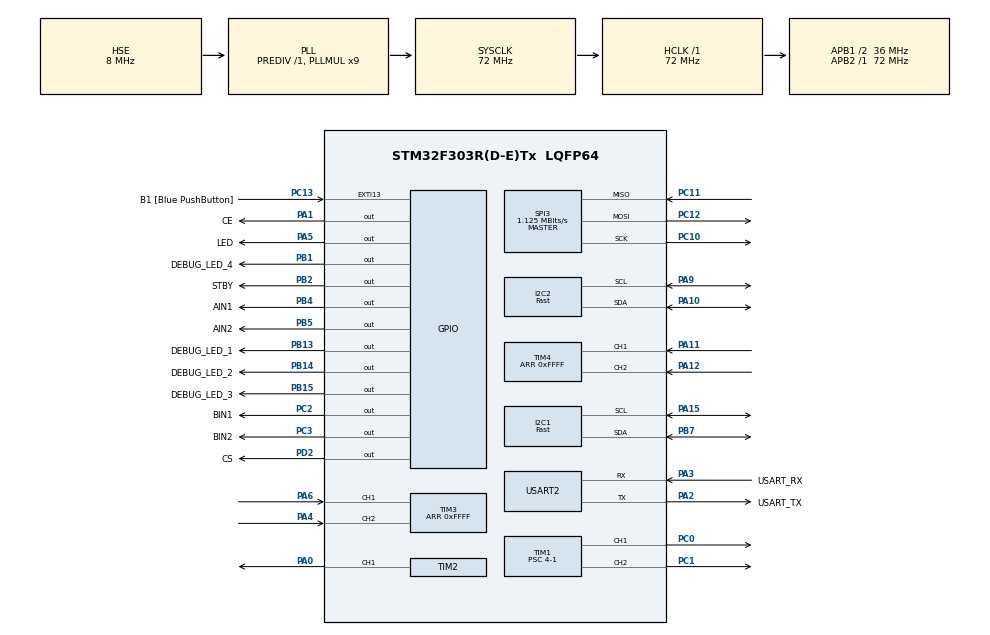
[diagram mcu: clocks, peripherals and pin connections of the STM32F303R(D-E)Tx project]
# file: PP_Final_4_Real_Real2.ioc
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Dma.I2C1_RX.0.Direction=DMA_PERIPH_TO_MEMORY
Dma.I2C1_RX.0.Instance=DMA1_Channel7
Dma.I2C1_RX.0.MemDataAlignment=DMA_MDATAALIGN_BYTE
Dma.I2C1_RX.0.MemInc=DMA_MINC_ENABLE
Dma.I2C1_RX.0.Mode=DMA_NORMAL
Dma.I2C1_RX.0.PeriphDataAlignment=DMA_PDATAALIGN_BYTE
Dma.I2C1_RX.0.PeriphInc=DMA_PINC_DISABLE
Dma.I2C1_RX.0.Priority=DMA_PRIORITY_LOW
Dma.I2C1_TX.1.Direction=DMA_MEMORY_TO_PERIPH
Dma.I2C1_TX.1.Instance=DMA1_Channel6
Dma.I2C1_TX.1.MemDataAlignment=DMA_MDATAALIGN_BYTE
Dma.I2C1_TX.1.MemInc=DMA_MINC_ENABLE
Dma.I2C1_TX.1.Mode=DMA_NORMAL
Dma.I2C1_TX.1.PeriphDataAlignment=DMA_PDATAALIGN_BYTE
Dma.I2C1_TX.1.PeriphInc=DMA_PINC_DISABLE
Dma.I2C1_TX.1.Priority=DMA_PRIORITY_LOW
Dma.I2C2_TX.2.Direction=DMA_MEMORY_TO_PERIPH
Dma.I2C2_TX.2.Instance=DMA1_Channel4
Dma.I2C2_TX.2.MemDataAlignment=DMA_MDATAALIGN_BYTE
Dma.I2C2_TX.2.MemInc=DMA_MINC_ENABLE
Dma.I2C2_TX.2.Mode=DMA_NORMAL
Dma.I2C2_TX.2.PeriphDataAlignment=DMA_PDATAALIGN_BYTE
Dma.I2C2_TX.2.PeriphInc=DMA_PINC_DISABLE
Dma.I2C2_TX.2.Priority=DMA_PRIORITY_LOW
Dma.Request0=I2C1_RX
Dma.Request1=I2C1_TX
Dma.Request2=I2C2_TX
FREERTOS.BinarySemaphores01=lcdI2cSem,Dynamic,NULL,Available
FREERTOS.Mutexes01=g_DataMutex,Dynamic,NULL,Available
FREERTOS.Tasks01=SENSOR,48,512,sensorTask,Default,NULL,Dynamic,NULL,NULL;NAVIGATE,24,256,naviTask,Default,NULL,Dynamic,NULL,NULL;CONTROL,40,512,controlTask,Default,NULL,Dynamic,NULL,NULL;LCD,8,256,lcdTask,Default,NULL,Dynamic,NULL,NULL
FREERTOS.configGENERATE_RUN_TIME_STATS=1
FREERTOS.configTOTAL_HEAP_SIZE=12288
FREERTOS.configUSE_STATS_FORMATTING_FUNCTIONS=1
I2C1.I2C_Speed_Mode=I2C_Fast
I2C1.Timing=0x0010020A
I2C2.I2C_Speed_Mode=I2C_Fast
I2C2.Timing=0x0010020A
Mcu.Family=STM32F3
Mcu.Name=STM32F303R(D-E)Tx
Mcu.Package=LQFP64
NVIC.DMA1_Channel4_IRQn=true\:5\:0\:false\:false\:true\:true\:false\:true\:true
NVIC.DMA1_Channel6_IRQn=true\:5\:0\:false\:false\:true\:true\:false\:true\:true
NVIC.DMA1_Channel7_IRQn=true\:5\:0\:false\:false\:true\:true\:false\:true\:true
NVIC.I2C1_ER_IRQn=true\:5\:0\:false\:false\:true\:true\:true\:true\:true
NVIC.I2C1_EV_IRQn=true\:5\:0\:false\:false\:true\:true\:true\:true\:true
NVIC.I2C2_ER_IRQn=true\:5\:0\:false\:false\:true\:true\:true\:true\:true
NVIC.I2C2_EV_IRQn=true\:5\:0\:false\:false\:true\:true\:true\:true\:true
NVIC.PriorityGroup=NVIC_PRIORITYGROUP_4
NVIC.TIM6_DAC_IRQn=true\:15\:0\:false\:false\:true\:false\:false\:true\:true
NVIC.TimeBase=TIM6_DAC_IRQn
NVIC.TimeBaseIP=TIM6
PA0.Signal=S_TIM2_CH1_ETR
PA1.GPIO_Label=CE
PA1.Signal=GPIO_Output
PA10.Mode=I2C
PA10.Signal=I2C2_SDA
PA11.Signal=S_TIM4_CH1
PA12.Signal=S_TIM4_CH2
PA13.GPIO_Label=TMS
PA13.Mode=Serial_Wire
PA13.Signal=SYS_JTMS-SWDIO
PA14.GPIO_Label=TCK
PA14.Mode=Serial_Wire
PA14.Signal=SYS_JTCK-SWCLK
PA15.Mode=I2C
PA15.Signal=I2C1_SCL
PA2.GPIO_Label=USART_TX
PA2.GPIO_Mode=GPIO_MODE_AF_PP
PA2.GPIO_PuPd=GPIO_NOPULL
PA2.GPIO_Speed=GPIO_SPEED_FREQ_LOW
PA2.Mode=Asynchronous
PA2.Signal=USART2_TX
PA3.GPIO_Label=USART_RX
PA3.GPIO_Mode=GPIO_MODE_AF_PP
PA3.GPIO_PuPd=GPIO_NOPULL
PA3.GPIO_Speed=GPIO_SPEED_FREQ_LOW
PA3.Mode=Asynchronous
PA3.Signal=USART2_RX
PA4.Signal=S_TIM3_CH2
PA5.GPIO_Label=LED
PA5.GPIO_Mode=GPIO_MODE_OUTPUT_PP
PA5.GPIO_PuPd=GPIO_NOPULL
PA5.GPIO_Speed=GPIO_SPEED_FREQ_LOW
PA5.Signal=GPIO_Output
PA6.Signal=S_TIM3_CH1
PA9.Mode=I2C
PA9.Signal=I2C2_SCL
PB1.GPIO_Label=DEBUG_LED_4
PB1.Signal=GPIO_Output
PB13.GPIO_Label=DEBUG_LED_1
PB13.Signal=GPIO_Output
PB14.GPIO_Label=DEBUG_LED_2
PB14.Signal=GPIO_Output
PB15.GPIO_Label=DEBUG_LED_3
PB15.Signal=GPIO_Output
PB2.GPIO_Label=STBY
PB2.Signal=GPIO_Output
PB3.GPIO_Label=SWO
PB3.Signal=SYS_JTDO-TRACESWO
PB4.GPIO_Label=AIN1
PB4.Signal=GPIO_Output
PB5.GPIO_Label=AIN2
PB5.Signal=GPIO_Output
PB7.Mode=I2C
PB7.Signal=I2C1_SDA
PC0.Signal=S_TIM1_CH1
PC1.Signal=S_TIM1_CH2
PC10.Mode=Full_Duplex_Master
PC10.Signal=SPI3_SCK
PC11.Mode=Full_Duplex_Master
PC11.Signal=SPI3_MISO
PC12.Mode=Full_Duplex_Master
PC12.Signal=SPI3_MOSI
PC13.GPIO_Label=B1 [Blue PushButton]
PC13.GPIO_ModeDefaultEXTI=GPIO_MODE_IT_FALLING
PC13.Signal=GPXTI13
PC14-OSC32_IN.Mode=LSE-External-Oscillator
PC14-OSC32_IN.Signal=RCC_OSC32_IN
PC15-OSC32_OUT.Mode=LSE-External-Oscillator
PC15-OSC32_OUT.Signal=RCC_OSC32_OUT
PC2.GPIO_Label=BIN1
PC2.Signal=GPIO_Output
PC3.GPIO_Label=BIN2
PC3.Signal=GPIO_Output
PD2.GPIO_Label=CS
PD2.Signal=GPIO_Output
PF0-OSC_IN.Mode=HSE-External-Clock-Source
PF0-OSC_IN.Signal=RCC_OSC_IN
PF1-OSC_OUT.Signal=RCC_OSC_OUT
ProjectManager.HeapSize=0x200
ProjectManager.StackSize=0x400
ProjectManager.TargetToolchain=STM32CubeIDE
RCC.AHBFreq_Value=72000000
RCC.APB1CLKDivider=RCC_HCLK_DIV2
RCC.APB1Freq_Value=36000000
RCC.APB1TimFreq_Value=72000000
RCC.APB2Freq_Value=72000000
RCC.APB2TimFreq_Value=72000000
RCC.CortexFreq_Value=72000000
RCC.HCLKFreq_Value=72000000
RCC.HSE_VALUE=8000000
RCC.HSI_VALUE=8000000
RCC.PLLM=8
RCC.PLLMUL=RCC_PLL_MUL9
RCC.PLLN=336
RCC.PLLP=RCC_PLLP_DIV4
RCC.PLLQ=7
RCC.PLLSourceVirtual=RCC_PLLSOURCE_HSE
RCC.RCC_PLLsource_Clock_Source_FROM_HSE=RCC_HSE_PREDIV_DIV2
RCC.SYSCLKFreq_VALUE=72000000
RCC.SYSCLKSourceVirtual=RCC_SYSCLKSOURCE_PLLCLK
RCC.USBFreq_Value=72000000
SH.S_TIM1_CH1.0=TIM1_CH1,PWM Generation1 CH1
SH.S_TIM1_CH2.0=TIM1_CH2,PWM Generation2 CH2
SH.S_TIM2_CH1_ETR.0=TIM2_CH1,PWM Generation1 CH1
SH.S_TIM3_CH1.0=TIM3_CH1,Encoder_Interface
SH.S_TIM3_CH2.0=TIM3_CH2,Encoder_Interface
SH.S_TIM4_CH1.0=TIM4_CH1,Encoder_Interface
SH.S_TIM4_CH2.0=TIM4_CH2,Encoder_Interface
SPI3.BaudRatePrescaler=SPI_BAUDRATEPRESCALER_32
SPI3.CalculateBaudRate=1.125 MBits/s
SPI3.Direction=SPI_DIRECTION_2LINES
SPI3.Mode=SPI_MODE_MASTER
SPI3.VirtualType=VM_MASTER
TIM1.Channel-PWM\ Generation1\ CH1=TIM_CHANNEL_1
TIM1.Channel-PWM\ Generation2\ CH2=TIM_CHANNEL_2
TIM1.Period=1000-1
TIM1.Prescaler=4-1
TIM2.Channel-PWM\ Generation1\ CH1=TIM_CHANNEL_1
TIM2.Period=20000-1
TIM2.Prescaler=71
TIM3.EncoderMode=TIM_ENCODERMODE_TI12
TIM3.Period=0xFFFF
TIM4.EncoderMode=TIM_ENCODERMODE_TI12
TIM4.Period=0xFFFF
USART2.VirtualMode-Asynchronous=VM_ASYNC
VP_FREERTOS_VS_CMSIS_V2.Mode=CMSIS_V2
VP_SYS_VS_tim6.Mode=TIM6
VP_TIM1_VS_ClockSourceINT.Mode=Internal
VP_TIM2_VS_ClockSourceINT.Mode=Internal
board=NUCLEO-F303RE

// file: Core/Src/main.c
/* USER CODE BEGIN Header */
/**
  ******************************************************************************
  * @file           : main.c
  * @brief          : Main program body
  ******************************************************************************
  * @attention
  *
  * Copyright (c) 2026 STMicroelectronics.
  * All rights reserved.
  *
  * This software is licensed under terms that can be found in the LICENSE file
  * in the root directory of this software component.
  * If no LICENSE file comes with this software, it is provided AS-IS.
  *
  ******************************************************************************
  */
/* USER CODE END Header */
#include "main.h"
#include "cmsis_os.h"

I2C_HandleTypeDef hi2c1;
I2C_HandleTypeDef hi2c2;
DMA_HandleTypeDef hdma_i2c1_rx;
DMA_HandleTypeDef hdma_i2c1_tx;
DMA_HandleTypeDef hdma_i2c2_tx;

SPI_HandleTypeDef hspi3;

TIM_HandleTypeDef htim1;
TIM_HandleTypeDef htim2;
TIM_HandleTypeDef htim3;
TIM_HandleTypeDef htim4;

UART_HandleTypeDef huart2;

/* Definitions for SENSOR */
osThreadId_t SENSORHandle;
const osThreadAttr_t SENSOR_attributes = {
  .name = "SENSOR",
  .stack_size = 512 * 4,
  .priority = (osPriority_t) osPriorityRealtime,
};
/* Definitions for NAVIGATE */
osThreadId_t NAVIGATEHandle;
const osThreadAttr_t NAVIGATE_attributes = {
  .name = "NAVIGATE",
  .stack_size = 256 * 4,
  .priority = (osPriority_t) osPriorityNormal,
};
/* Definitions for CONTROL */
osThreadId_t CONTROLHandle;
const osThreadAttr_t CONTROL_attributes = {
  .name = "CONTROL",
  .stack_size = 512 * 4,
  .priority = (osPriority_t) osPriorityHigh,
};
/* Definitions for LCD */
osThreadId_t LCDHandle;
const osThreadAttr_t LCD_attributes = {
  .name = "LCD",
  .stack_size = 256 * 4,
  .priority = (osPriority_t) osPriorityLow,
};
/* Definitions for g_DataMutex */
osMutexId_t g_DataMutexHandle;
const osMutexAttr_t g_DataMutex_attributes = {
  .name = "g_DataMutex"
};
/* Definitions for lcdI2cSem */
osSemaphoreId_t lcdI2cSemHandle;
const osSemaphoreAttr_t lcdI2cSem_attributes = {
  .name = "lcdI2cSem"
};

void SystemClock_Config(void);
static void MX_GPIO_Init(void);
static void MX_DMA_Init(void);
static void MX_USART2_UART_Init(void);
static void MX_I2C1_Init(void);
static void MX_TIM1_Init(void);
static void MX_TIM2_Init(void);
static void MX_TIM3_Init(void);
static void MX_TIM4_Init(void);
static void MX_I2C2_Init(void);
static void MX_SPI3_Init(void);
void sensorTask(void *argument);
void naviTask(void *argument);
void controlTask(void *argument);
void lcdTask(void *argument);

/* USER CODE BEGIN 0 */
#include <stdio.h> // lcd에다가 sprintf 써야되서
#include <math.h> // 오도메트리 등에 쓸 cosf등
#include "types.h" // 구조체들
#include "app_pid.h" // PID 제어
#include "app_imu.h" // 오도메트리의 헤딩에다가 쓸 3가지 센서들 구동
#include "bsp_motor_driver.h" // 모터 드라이버 구동
#include "app_encoder.h" // 오도메트리의 주행거리 위한 엔코더
#include "bsp_servo.h" // 조향을 위한 서보
#include "app_pure_pursuit.h" // 주행 알고리즘인 Pure-Pursuit 계산용
#include "app_lcd.h" // lcd 표시용
#include "app_nRF24.h" // 헤더 포함

extern float Straight_Distance; // lcd 출력용

Waypoint_t my_path[5];
#define TARGET_NODE_ID 1
uint16_t current_cds_value;

// motor_pid = {Kp, Ki, prev_error, target_rpm, current_rpm, integral_sum} 등... types.h에 각 구조체와 설명있음.
PID_Config motor_pid_R = {0.0f, 0.0f, 0.0f, 0.0f, 0.0f, 0.0f, 0, 999}; // 후륜 우측 모터용 PID 파라미터. 주행 목표 rpm에 따라 3가지 중 하나 고르게 해둠.
PID_Config motor_pid_L = {0.0f, 0.0f, 0.0f, 0.0f, 0.0f, 0.0f, 0, 999}; // // 후륜 좌측 모터용 PID 파라미터. List는 Pure_Pursuit.c 가장 하단에

SharedData_t g_RobotData;   // 로봇 상태 및 미션 정보
PP_Handle_t g_PPHandle;     // Pure Pursuit 관리자

float heading; // 그냥 Live로 헤딩 보기 위함
float heading_deg; // 마찬가지
float steer_cmd;
size_t myFreeHeap = 0;
size_t myMinHeap = 0;
static inline void DWT_Init(void)
{
    CoreDebug->DEMCR |= CoreDebug_DEMCR_TRCENA_Msk;
    DWT->CYCCNT = 0;
    DWT->CTRL |= DWT_CTRL_CYCCNTENA_Msk;
}
/* USER CODE END 0 */

int main(void)
{

  /* MCU Configuration--------------------------------------------------------*/

  /* Reset of all peripherals, Initializes the Flash interface and the Systick. */
  HAL_Init();

  /* Configure the system clock */
  SystemClock_Config();

  /* Initialize all configured peripherals */
  MX_GPIO_Init();
  MX_DMA_Init();
  MX_USART2_UART_Init();
  MX_I2C1_Init();
  MX_TIM1_Init();
  MX_TIM2_Init();
  MX_TIM3_Init();
  MX_TIM4_Init();
  MX_I2C2_Init();
  MX_SPI3_Init();
  /* USER CODE BEGIN 2 */
  HAL_Delay(1000);
  g_RobotData.cmd.state = STATE_IDLE;

  // NRF 코드
  APP_NRF24_Init();
  APP_NRF24_WaitForData(5000);
  // 데이터 파싱 및 저장
  if (g_rx_complete_flag[TARGET_NODE_ID]){ // 1번 파이프에서 데이터 수신 성공 시
	  current_cds_value = g_node_data[TARGET_NODE_ID].cds_value;  // 조도 센서 값 가져오기
	  memcpy(my_path, g_node_data[TARGET_NODE_ID].path, sizeof(my_path));
  }
  else{
	  // 수신 실패 시 (타임아웃)
	  memset(my_path, 0, sizeof(my_path));
  	  // 수신 실패 표시 (LED 깜빡임 5회)
  	  for(int i=0; i<5; i++) {
  		  HAL_GPIO_TogglePin(LED_GPIO_Port, LED_Pin);
  		  HAL_Delay(200);
  	  }
  }

  // 디버깅용 DWT
  CoreDebug->DEMCR |= CoreDebug_DEMCR_TRCENA_Msk;
  DWT->CYCCNT = 0;
  DWT->CTRL |= DWT_CTRL_CYCCNTENA_Msk;

  Init_Servo(); // 서보 pwm 시작 및 정면 정렬
  HAL_Delay(1000);

  Init_Sensors(); // ACC, MAG, GYRO INIT

  Init_Encoder(); // 엔코더 초기화:pwm시작

  Init_Motor_Driver(); // 모터 초기 세팅(STBY 등)

  g_RobotData.cmd.state = STATE_RUNNING;

  DWT_Init();
  xTraceEnable(TRC_START);
  /* USER CODE END 2 */

  /* Init scheduler */
  osKernelInitialize();
  /* Create the mutex(es) */
  /* creation of g_DataMutex */
  g_DataMutexHandle = osMutexNew(&g_DataMutex_attributes);

  /* Create the semaphores(s) */
  /* creation of lcdI2cSem */
  lcdI2cSemHandle = osSemaphoreNew(1, 1, &lcdI2cSem_attributes);

  /* Create the thread(s) */
  /* creation of SENSOR */
  SENSORHandle = osThreadNew(sensorTask, NULL, &SENSOR_attributes);

  /* creation of NAVIGATE */
  NAVIGATEHandle = osThreadNew(naviTask, NULL, &NAVIGATE_attributes);

  /* creation of CONTROL */
  CONTROLHandle = osThreadNew(controlTask, NULL, &CONTROL_attributes);

  /* creation of LCD */
  LCDHandle = osThreadNew(lcdTask, NULL, &LCD_attributes);

  /* Start scheduler */
  osKernelStart();

  /* We should never get here as control is now taken by the scheduler */

  /* Infinite loop */
  while (1)
  {

  }
}

void SystemClock_Config(void)
{
  RCC_OscInitTypeDef RCC_OscInitStruct = {0};
  RCC_ClkInitTypeDef RCC_ClkInitStruct = {0};
  RCC_PeriphCLKInitTypeDef PeriphClkInit = {0};

  /** Initializes the RCC Oscillators according to the specified parameters
  * in the RCC_OscInitTypeDef structure.
  */
  RCC_OscInitStruct.OscillatorType = RCC_OSCILLATORTYPE_HSI|RCC_OSCILLATORTYPE_HSE;
  RCC_OscInitStruct.HSEState = RCC_HSE_BYPASS;
  RCC_OscInitStruct.HSIState = RCC_HSI_ON;
  RCC_OscInitStruct.HSICalibrationValue = RCC_HSICALIBRATION_DEFAULT;
  RCC_OscInitStruct.PLL.PLLState = RCC_PLL_ON;
  RCC_OscInitStruct.PLL.PLLSource = RCC_PLLSOURCE_HSE;
  RCC_OscInitStruct.PLL.PLLMUL = RCC_PLL_MUL9;
  RCC_OscInitStruct.PLL.PREDIV = RCC_PREDIV_DIV1;
  if (HAL_RCC_OscConfig(&RCC_OscInitStruct) != HAL_OK)
  {
    Error_Handler();
  }

  /** Initializes the CPU, AHB and APB buses clocks
  */
  RCC_ClkInitStruct.ClockType = RCC_CLOCKTYPE_HCLK|RCC_CLOCKTYPE_SYSCLK
                              |RCC_CLOCKTYPE_PCLK1|RCC_CLOCKTYPE_PCLK2;
  RCC_ClkInitStruct.SYSCLKSource = RCC_SYSCLKSOURCE_PLLCLK;
  RCC_ClkInitStruct.AHBCLKDivider = RCC_SYSCLK_DIV1;
  RCC_ClkInitStruct.APB1CLKDivider = RCC_HCLK_DIV2;
  RCC_ClkInitStruct.APB2CLKDivider = RCC_HCLK_DIV1;

  if (HAL_RCC_ClockConfig(&RCC_ClkInitStruct, FLASH_LATENCY_2) != HAL_OK)
  {
    Error_Handler();
  }
  PeriphClkInit.PeriphClockSelection = RCC_PERIPHCLK_USART2|RCC_PERIPHCLK_I2C1
                              |RCC_PERIPHCLK_I2C2|RCC_PERIPHCLK_TIM1
                              |RCC_PERIPHCLK_TIM2|RCC_PERIPHCLK_TIM34;
  PeriphClkInit.Usart2ClockSelection = RCC_USART2CLKSOURCE_PCLK1;
  PeriphClkInit.I2c1ClockSelection = RCC_I2C1CLKSOURCE_HSI;
  PeriphClkInit.I2c2ClockSelection = RCC_I2C2CLKSOURCE_HSI;
  PeriphClkInit.Tim1ClockSelection = RCC_TIM1CLK_HCLK;
  PeriphClkInit.Tim2ClockSelection = RCC_TIM2CLK_HCLK;
  PeriphClkInit.Tim34ClockSelection = RCC_TIM34CLK_HCLK;
  if (HAL_RCCEx_PeriphCLKConfig(&PeriphClkInit) != HAL_OK)
  {
    Error_Handler();
  }
}

static void MX_I2C1_Init(void)
{

  hi2c1.Instance = I2C1;
  hi2c1.Init.Timing = 0x0010020A;
  hi2c1.Init.OwnAddress1 = 0;
  hi2c1.Init.AddressingMode = I2C_ADDRESSINGMODE_7BIT;
  hi2c1.Init.DualAddressMode = I2C_DUALADDRESS_DISABLE;
  hi2c1.Init.OwnAddress2 = 0;
  hi2c1.Init.OwnAddress2Masks = I2C_OA2_NOMASK;
  hi2c1.Init.GeneralCallMode = I2C_GENERALCALL_DISABLE;
  hi2c1.Init.NoStretchMode = I2C_NOSTRETCH_DISABLE;
  if (HAL_I2C_Init(&hi2c1) != HAL_OK)
  {
    Error_Handler();
  }

  /** Configure Analogue filter
  */
  if (HAL_I2CEx_ConfigAnalogFilter(&hi2c1, I2C_ANALOGFILTER_ENABLE) != HAL_OK)
  {
    Error_Handler();
  }

  /** Configure Digital filter
  */
  if (HAL_I2CEx_ConfigDigitalFilter(&hi2c1, 0) != HAL_OK)
  {
    Error_Handler();
  }

}

static void MX_I2C2_Init(void)
{

  hi2c2.Instance = I2C2;
  hi2c2.Init.Timing = 0x0010020A;
  hi2c2.Init.OwnAddress1 = 0;
  hi2c2.Init.AddressingMode = I2C_ADDRESSINGMODE_7BIT;
  hi2c2.Init.DualAddressMode = I2C_DUALADDRESS_DISABLE;
  hi2c2.Init.OwnAddress2 = 0;
  hi2c2.Init.OwnAddress2Masks = I2C_OA2_NOMASK;
  hi2c2.Init.GeneralCallMode = I2C_GENERALCALL_DISABLE;
  hi2c2.Init.NoStretchMode = I2C_NOSTRETCH_DISABLE;
  if (HAL_I2C_Init(&hi2c2) != HAL_OK)
  {
    Error_Handler();
  }

  /** Configure Analogue filter
  */
  if (HAL_I2CEx_ConfigAnalogFilter(&hi2c2, I2C_ANALOGFILTER_ENABLE) != HAL_OK)
  {
    Error_Handler();
  }

  /** Configure Digital filter
  */
  if (HAL_I2CEx_ConfigDigitalFilter(&hi2c2, 0) != HAL_OK)
  {
    Error_Handler();
  }

}

static void MX_SPI3_Init(void)
{

  /* SPI3 parameter configuration*/
  hspi3.Instance = SPI3;
  hspi3.Init.Mode = SPI_MODE_MASTER;
  hspi3.Init.Direction = SPI_DIRECTION_2LINES;
  hspi3.Init.DataSize = SPI_DATASIZE_4BIT;
  hspi3.Init.CLKPolarity = SPI_POLARITY_LOW;
  hspi3.Init.CLKPhase = SPI_PHASE_1EDGE;
  hspi3.Init.NSS = SPI_NSS_SOFT;
  hspi3.Init.BaudRatePrescaler = SPI_BAUDRATEPRESCALER_32;
  hspi3.Init.FirstBit = SPI_FIRSTBIT_MSB;
  hspi3.Init.TIMode = SPI_TIMODE_DISABLE;
  hspi3.Init.CRCCalculation = SPI_CRCCALCULATION_DISABLE;
  hspi3.Init.CRCPolynomial = 7;
  hspi3.Init.CRCLength = SPI_CRC_LENGTH_DATASIZE;
  hspi3.Init.NSSPMode = SPI_NSS_PULSE_ENABLE;
  if (HAL_SPI_Init(&hspi3) != HAL_OK)
  {
    Error_Handler();
  }

}

static void MX_TIM1_Init(void)
{

  TIM_ClockConfigTypeDef sClockSourceConfig = {0};
  TIM_MasterConfigTypeDef sMasterConfig = {0};
  TIM_OC_InitTypeDef sConfigOC = {0};
  TIM_BreakDeadTimeConfigTypeDef sBreakDeadTimeConfig = {0};

  htim1.Instance = TIM1;
  htim1.Init.Prescaler = 4-1;
  htim1.Init.CounterMode = TIM_COUNTERMODE_UP;
  htim1.Init.Period = 1000-1;
  htim1.Init.ClockDivision = TIM_CLOCKDIVISION_DIV1;
  htim1.Init.RepetitionCounter = 0;
  htim1.Init.AutoReloadPreload = TIM_AUTORELOAD_PRELOAD_DISABLE;
  if (HAL_TIM_Base_Init(&htim1) != HAL_OK)
  {
    Error_Handler();
  }
  sClockSourceConfig.ClockSource = TIM_CLOCKSOURCE_INTERNAL;
  if (HAL_TIM_ConfigClockSource(&htim1, &sClockSourceConfig) != HAL_OK)
  {
    Error_Handler();
  }
  if (HAL_TIM_PWM_Init(&htim1) != HAL_OK)
  {
    Error_Handler();
  }
  sMasterConfig.MasterOutputTrigger = TIM_TRGO_RESET;
  sMasterConfig.MasterOutputTrigger2 = TIM_TRGO2_RESET;
  sMasterConfig.MasterSlaveMode = TIM_MASTERSLAVEMODE_DISABLE;
  if (HAL_TIMEx_MasterConfigSynchronization(&htim1, &sMasterConfig) != HAL_OK)
  {
    Error_Handler();
  }
  sConfigOC.OCMode = TIM_OCMODE_PWM1;
  sConfigOC.Pulse = 0;
  sConfigOC.OCPolarity = TIM_OCPOLARITY_HIGH;
  sConfigOC.OCNPolarity = TIM_OCNPOLARITY_HIGH;
  sConfigOC.OCFastMode = TIM_OCFAST_DISABLE;
  sConfigOC.OCIdleState = TIM_OCIDLESTATE_RESET;
  sConfigOC.OCNIdleState = TIM_OCNIDLESTATE_RESET;
  if (HAL_TIM_PWM_ConfigChannel(&htim1, &sConfigOC, TIM_CHANNEL_1) != HAL_OK)
  {
    Error_Handler();
  }
  if (HAL_TIM_PWM_ConfigChannel(&htim1, &sConfigOC, TIM_CHANNEL_2) != HAL_OK)
  {
    Error_Handler();
  }
  sBreakDeadTimeConfig.OffStateRunMode = TIM_OSSR_DISABLE;
  sBreakDeadTimeConfig.OffStateIDLEMode = TIM_OSSI_DISABLE;
  sBreakDeadTimeConfig.LockLevel = TIM_LOCKLEVEL_OFF;
  sBreakDeadTimeConfig.DeadTime = 0;
  sBreakDeadTimeConfig.BreakState = TIM_BREAK_DISABLE;
  sBreakDeadTimeConfig.BreakPolarity = TIM_BREAKPOLARITY_HIGH;
  sBreakDeadTimeConfig.BreakFilter = 0;
  sBreakDeadTimeConfig.Break2State = TIM_BREAK2_DISABLE;
  sBreakDeadTimeConfig.Break2Polarity = TIM_BREAK2POLARITY_HIGH;
  sBreakDeadTimeConfig.Break2Filter = 0;
  sBreakDeadTimeConfig.AutomaticOutput = TIM_AUTOMATICOUTPUT_DISABLE;
  if (HAL_TIMEx_ConfigBreakDeadTime(&htim1, &sBreakDeadTimeConfig) != HAL_OK)
  {
    Error_Handler();
  }
  HAL_TIM_MspPostInit(&htim1);

}

static void MX_TIM2_Init(void)
{

  TIM_ClockConfigTypeDef sClockSourceConfig = {0};
  TIM_MasterConfigTypeDef sMasterConfig = {0};
  TIM_OC_InitTypeDef sConfigOC = {0};

  htim2.Instance = TIM2;
  htim2.Init.Prescaler = 71;
  htim2.Init.CounterMode = TIM_COUNTERMODE_UP;
  htim2.Init.Period = 20000-1;
  htim2.Init.ClockDivision = TIM_CLOCKDIVISION_DIV1;
  htim2.Init.AutoReloadPreload = TIM_AUTORELOAD_PRELOAD_DISABLE;
  if (HAL_TIM_Base_Init(&htim2) != HAL_OK)
  {
    Error_Handler();
  }
  sClockSourceConfig.ClockSource = TIM_CLOCKSOURCE_INTERNAL;
  if (HAL_TIM_ConfigClockSource(&htim2, &sClockSourceConfig) != HAL_OK)
  {
    Error_Handler();
  }
  if (HAL_TIM_PWM_Init(&htim2) != HAL_OK)
  {
    Error_Handler();
  }
  sMasterConfig.MasterOutputTrigger = TIM_TRGO_RESET;
  sMasterConfig.MasterSlaveMode = TIM_MASTERSLAVEMODE_DISABLE;
  if (HAL_TIMEx_MasterConfigSynchronization(&htim2, &sMasterConfig) != HAL_OK)
  {
    Error_Handler();
  }
  sConfigOC.OCMode = TIM_OCMODE_PWM1;
  sConfigOC.Pulse = 0;
  sConfigOC.OCPolarity = TIM_OCPOLARITY_HIGH;
  sConfigOC.OCFastMode = TIM_OCFAST_DISABLE;
  if (HAL_TIM_PWM_ConfigChannel(&htim2, &sConfigOC, TIM_CHANNEL_1) != HAL_OK)
  {
    Error_Handler();
  }
  HAL_TIM_MspPostInit(&htim2);

}

static void MX_TIM3_Init(void)
{

  TIM_Encoder_InitTypeDef sConfig = {0};
  TIM_MasterConfigTypeDef sMasterConfig = {0};

  htim3.Instance = TIM3;
  htim3.Init.Prescaler = 0;
  htim3.Init.CounterMode = TIM_COUNTERMODE_UP;
  htim3.Init.Period = 0xFFFF;
  htim3.Init.ClockDivision = TIM_CLOCKDIVISION_DIV1;
  htim3.Init.AutoReloadPreload = TIM_AUTORELOAD_PRELOAD_DISABLE;
  sConfig.EncoderMode = TIM_ENCODERMODE_TI12;
  sConfig.IC1Polarity = TIM_ICPOLARITY_RISING;
  sConfig.IC1Selection = TIM_ICSELECTION_DIRECTTI;
  sConfig.IC1Prescaler = TIM_ICPSC_DIV1;
  sConfig.IC1Filter = 0;
  sConfig.IC2Polarity = TIM_ICPOLARITY_RISING;
  sConfig.IC2Selection = TIM_ICSELECTION_DIRECTTI;
  sConfig.IC2Prescaler = TIM_ICPSC_DIV1;
  sConfig.IC2Filter = 0;
  if (HAL_TIM_Encoder_Init(&htim3, &sConfig) != HAL_OK)
  {
    Error_Handler();
  }
  sMasterConfig.MasterOutputTrigger = TIM_TRGO_RESET;
  sMasterConfig.MasterSlaveMode = TIM_MASTERSLAVEMODE_DISABLE;
  if (HAL_TIMEx_MasterConfigSynchronization(&htim3, &sMasterConfig) != HAL_OK)
  {
    Error_Handler();
  }

}

static void MX_TIM4_Init(void)
{

  TIM_Encoder_InitTypeDef sConfig = {0};
  TIM_MasterConfigTypeDef sMasterConfig = {0};

  htim4.Instance = TIM4;
  htim4.Init.Prescaler = 0;
  htim4.Init.CounterMode = TIM_COUNTERMODE_UP;
  htim4.Init.Period = 0xFFFF;
  htim4.Init.ClockDivision = TIM_CLOCKDIVISION_DIV1;
  htim4.Init.AutoReloadPreload = TIM_AUTORELOAD_PRELOAD_DISABLE;
  sConfig.EncoderMode = TIM_ENCODERMODE_TI12;
  sConfig.IC1Polarity = TIM_ICPOLARITY_RISING;
  sConfig.IC1Selection = TIM_ICSELECTION_DIRECTTI;
  sConfig.IC1Prescaler = TIM_ICPSC_DIV1;
  sConfig.IC1Filter = 0;
  sConfig.IC2Polarity = TIM_ICPOLARITY_RISING;
  sConfig.IC2Selection = TIM_ICSELECTION_DIRECTTI;
  sConfig.IC2Prescaler = TIM_ICPSC_DIV1;
  sConfig.IC2Filter = 0;
  if (HAL_TIM_Encoder_Init(&htim4, &sConfig) != HAL_OK)
  {
    Error_Handler();
  }
  sMasterConfig.MasterOutputTrigger = TIM_TRGO_RESET;
  sMasterConfig.MasterSlaveMode = TIM_MASTERSLAVEMODE_DISABLE;
  if (HAL_TIMEx_MasterConfigSynchronization(&htim4, &sMasterConfig) != HAL_OK)
  {
    Error_Handler();
  }

}

static void MX_USART2_UART_Init(void)
{

  huart2.Instance = USART2;
  huart2.Init.BaudRate = 38400;
  huart2.Init.WordLength = UART_WORDLENGTH_8B;
  huart2.Init.StopBits = UART_STOPBITS_1;
  huart2.Init.Parity = UART_PARITY_NONE;
  huart2.Init.Mode = UART_MODE_TX_RX;
  huart2.Init.HwFlowCtl = UART_HWCONTROL_NONE;
  huart2.Init.OverSampling = UART_OVERSAMPLING_16;
  huart2.Init.OneBitSampling = UART_ONE_BIT_SAMPLE_DISABLE;
  huart2.AdvancedInit.AdvFeatureInit = UART_ADVFEATURE_NO_INIT;
  if (HAL_UART_Init(&huart2) != HAL_OK)
  {
    Error_Handler();
  }

}

static void MX_DMA_Init(void)
{

  /* DMA controller clock enable */
  __HAL_RCC_DMA1_CLK_ENABLE();

  /* DMA interrupt init */
  /* DMA1_Channel4_IRQn interrupt configuration */
  HAL_NVIC_SetPriority(DMA1_Channel4_IRQn, 5, 0);
  HAL_NVIC_EnableIRQ(DMA1_Channel4_IRQn);
  /* DMA1_Channel6_IRQn interrupt configuration */
  HAL_NVIC_SetPriority(DMA1_Channel6_IRQn, 5, 0);
  HAL_NVIC_EnableIRQ(DMA1_Channel6_IRQn);
  /* DMA1_Channel7_IRQn interrupt configuration */
  HAL_NVIC_SetPriority(DMA1_Channel7_IRQn, 5, 0);
  HAL_NVIC_EnableIRQ(DMA1_Channel7_IRQn);

}

static void MX_GPIO_Init(void)
{
  GPIO_InitTypeDef GPIO_InitStruct = {0};

  /* GPIO Ports Clock Enable */
  __HAL_RCC_GPIOC_CLK_ENABLE();
  __HAL_RCC_GPIOF_CLK_ENABLE();
  __HAL_RCC_GPIOA_CLK_ENABLE();
  __HAL_RCC_GPIOB_CLK_ENABLE();
  __HAL_RCC_GPIOD_CLK_ENABLE();

  /*Configure GPIO pin Output Level */
  HAL_GPIO_WritePin(GPIOC, BIN1_Pin|BIN2_Pin, GPIO_PIN_RESET);

  /*Configure GPIO pin Output Level */
  HAL_GPIO_WritePin(GPIOA, CE_Pin|LED_Pin, GPIO_PIN_RESET);

  /*Configure GPIO pin Output Level */
  HAL_GPIO_WritePin(GPIOB, DEBUG_LED_4_Pin|STBY_Pin|DEBUG_LED_1_Pin|DEBUG_LED_2_Pin
                          |DEBUG_LED_3_Pin|AIN1_Pin|AIN2_Pin, GPIO_PIN_RESET);

  /*Configure GPIO pin Output Level */
  HAL_GPIO_WritePin(CS_GPIO_Port, CS_Pin, GPIO_PIN_RESET);

  /*Configure GPIO pin : B1_Pin */
  GPIO_InitStruct.Pin = B1_Pin;
  GPIO_InitStruct.Mode = GPIO_MODE_IT_FALLING;
  GPIO_InitStruct.Pull = GPIO_NOPULL;
  HAL_GPIO_Init(B1_GPIO_Port, &GPIO_InitStruct);

  /*Configure GPIO pins : BIN1_Pin BIN2_Pin */
  GPIO_InitStruct.Pin = BIN1_Pin|BIN2_Pin;
  GPIO_InitStruct.Mode = GPIO_MODE_OUTPUT_PP;
  GPIO_InitStruct.Pull = GPIO_NOPULL;
  GPIO_InitStruct.Speed = GPIO_SPEED_FREQ_LOW;
  HAL_GPIO_Init(GPIOC, &GPIO_InitStruct);

  /*Configure GPIO pins : CE_Pin LED_Pin */
  GPIO_InitStruct.Pin = CE_Pin|LED_Pin;
  GPIO_InitStruct.Mode = GPIO_MODE_OUTPUT_PP;
  GPIO_InitStruct.Pull = GPIO_NOPULL;
  GPIO_InitStruct.Speed = GPIO_SPEED_FREQ_LOW;
  HAL_GPIO_Init(GPIOA, &GPIO_InitStruct);

  /*Configure GPIO pins : DEBUG_LED_4_Pin STBY_Pin DEBUG_LED_1_Pin DEBUG_LED_2_Pin
                           DEBUG_LED_3_Pin AIN1_Pin AIN2_Pin */
  GPIO_InitStruct.Pin = DEBUG_LED_4_Pin|STBY_Pin|DEBUG_LED_1_Pin|DEBUG_LED_2_Pin
                          |DEBUG_LED_3_Pin|AIN1_Pin|AIN2_Pin;
  GPIO_InitStruct.Mode = GPIO_MODE_OUTPUT_PP;
  GPIO_InitStruct.Pull = GPIO_NOPULL;
  GPIO_InitStruct.Speed = GPIO_SPEED_FREQ_LOW;
  HAL_GPIO_Init(GPIOB, &GPIO_InitStruct);

  /*Configure GPIO pin : CS_Pin */
  GPIO_InitStruct.Pin = CS_Pin;
  GPIO_InitStruct.Mode = GPIO_MODE_OUTPUT_PP;
  GPIO_InitStruct.Pull = GPIO_NOPULL;
  GPIO_InitStruct.Speed = GPIO_SPEED_FREQ_LOW;
  HAL_GPIO_Init(CS_GPIO_Port, &GPIO_InitStruct);

}

void sensorTask(void *argument)
{
  /* USER CODE BEGIN 5 */
  uint32_t tick = osKernelGetTickCount();
  // 좌표 등 저장할 로컬 변수
  float local_x = 0.0f;
  float local_y = 0.0f;
  float current_heading = 0.0f;
  float last_dist = 0.0f;
  float velocity = 0.0f;
  float rpm = 0.0f;
  const uint32_t kPeriod = 10U; // 10ms 주기 (100Hz)

  /* Infinite loop */
  for(;;)
  {
	  HAL_GPIO_WritePin(DEBUG_LED_1_GPIO_Port, DEBUG_LED_1_Pin, GPIO_PIN_SET); // 주기 디버깅용
	  // 센서 값 읽기 및 오도메트리
	  heading = Get_Fused_Heading();
	  heading_deg = heading * 57.29f; // deg 변환
	  current_heading = heading;
      // 거리 변화량 계산
      float curr_dist = Encoder_GetDist(); // 두 구동 모터 주행 거리의 평균
      float d_dist = curr_dist - last_dist;
      last_dist = curr_dist;
      velocity = d_dist / (kPeriod/1000.0f); // 평균 주행 거리
      rpm = (velocity * 60.0f) / CIRCUMFERENCE_M;; // 평균 rpm
      local_x += d_dist * cosf(current_heading); // 이동한 거리만큼 현재 바라보는 방향으로 분해해서 더함
      local_y += d_dist * sinf(current_heading);

      // 공유 데이터 업데이트 오도메트리 수행 결과(좌표) 업데이트해주고, 현재 rpm도 일단은 기록해둠(표시용)
      osMutexAcquire(g_DataMutexHandle, osWaitForever);
      g_RobotData.pose.x = local_x;
      g_RobotData.pose.y = local_y;
      g_RobotData.pose.theta_rad = current_heading; // 퓨전된 각도 저장
      g_RobotData.pose.v_ms = velocity; //[m/ms]
      g_RobotData.pose.RPM = rpm;
      osMutexRelease(g_DataMutexHandle);

      HAL_GPIO_WritePin(DEBUG_LED_1_GPIO_Port, DEBUG_LED_1_Pin, GPIO_PIN_RESET); // 주기 디버깅용
      // 주기 유지
      tick += kPeriod;
      osDelayUntil(tick);
  }
  /* USER CODE END 5 */
}

void naviTask(void *argument)
{
  /* USER CODE BEGIN naviTask */
  ControlCommand_t cmd_msg = {0}; // 로컬 명령 변수
  RobotPose_t current_pose_copy; // g_RobotData 복사해올 변수
  PP_Init(&g_PPHandle, my_path, sizeof(my_path)/sizeof(Waypoint_t)); // Waypoint 관리 초기화
  uint32_t tick = osKernelGetTickCount();
  const uint32_t kPeriod = 50U; // 50ms 주기 (20Hz)
  // 서보가 (6v 기준) 140ms당 60도 돌음. 즉, 0.43도 / ms임. 즉 10ms마다 4.3도 돌아가니깐 50ms 주기가 적당할듯.
  // 초기 상태 설정
  osMutexAcquire(g_DataMutexHandle, osWaitForever);
  g_RobotData.cmd.state = STATE_RUNNING;
  osMutexRelease(g_DataMutexHandle);
  /* Infinite loop */
  for(;;)
  {
	  HAL_GPIO_WritePin(DEBUG_LED_2_GPIO_Port, DEBUG_LED_2_Pin, GPIO_PIN_SET); // 주기 디버깅용

	  // 현재 상태 가져오기
      osMutexAcquire(g_DataMutexHandle, osWaitForever);
      current_pose_copy = g_RobotData.pose;
      MissionState_e current_state = g_RobotData.cmd.state;
      osMutexRelease(g_DataMutexHandle);

      // Pure Pursuit 계산
      if (current_state == STATE_RUNNING) {
          cmd_msg = PP_Compute(&g_PPHandle, &current_pose_copy); // 여기서 cmd에다가 지령값들 업데이트 해줌
          if (cmd_msg.e_stop == 1) { // 종료면 종료 상태로 변경 (이것만 따로 Mutex로 바로 업데이트)
              osMutexAcquire(g_DataMutexHandle, osWaitForever);
              g_RobotData.cmd.state = STATE_FINISHED; // Finished로 종료
              osMutexRelease(g_DataMutexHandle);
          }
      }
      else { // 어떤 이유로 정지나 아이들일때의 보험
          cmd_msg.target_motor_rpm = 0.0f; // 정지
          cmd_msg.target_servo_angle = 0.0f; // 정지
          cmd_msg.e_stop = 1; // 정지
      }

      steer_cmd = cmd_msg.target_servo_angle * 180 / M_PI;

      // 지령 저장
      osMutexAcquire(g_DataMutexHandle, osWaitForever);
      g_RobotData.cmd.target_speed = cmd_msg.target_motor_rpm; // RPM 지령 저장
      g_RobotData.cmd.rpmR = cmd_msg.target_motor_rpm_R;
      g_RobotData.cmd.rpmL = cmd_msg.target_motor_rpm_L;
      g_RobotData.cmd.target_steer = cmd_msg.target_servo_angle; // 서보 지령 저장
      osMutexRelease(g_DataMutexHandle);

      /*
      myFreeHeap = xPortGetFreeHeapSize(); // 걍 메모리볼라고
      myMinHeap = xPortGetMinimumEverFreeHeapSize();
	  */

      HAL_GPIO_WritePin(DEBUG_LED_2_GPIO_Port, DEBUG_LED_2_Pin, GPIO_PIN_RESET); // 주기 디버깅용
      // 주기 유지
      tick += kPeriod;
      osDelayUntil(tick);
  }
  /* USER CODE END naviTask */
}

void controlTask(void *argument)
{
  /* USER CODE BEGIN controlTask */
  uint16_t servo_ccr = 1500;
  uint32_t tick = osKernelGetTickCount();
  const uint32_t kPeriod = 20U; // 20ms 주기 (50Hz)
  RobotCommand_t target_cmd = {0};
  static uint16_t last_cntR = 0; // Delta 계산을 위한
  static uint16_t last_cntL = 0; // Delta 계산을 위한
  /* Infinite loop */
  for(;;)
  {
	  HAL_GPIO_WritePin(DEBUG_LED_3_GPIO_Port, DEBUG_LED_3_Pin, GPIO_PIN_SET); // 주기 디버깅용
	  osMutexAcquire(g_DataMutexHandle, osWaitForever);
	  target_cmd = g_RobotData.cmd;
	  osMutexRelease(g_DataMutexHandle);

	  if(target_cmd.state == STATE_RUNNING){

		  // 데이터 읽기
		  motor_pid_R.target_rpm = target_cmd.rpmR;
		  motor_pid_L.target_rpm = target_cmd.rpmL;

		  // 엔코더 읽기
          uint16_t cur_cntR = (uint16_t)__HAL_TIM_GET_COUNTER(&htim4);
          uint16_t cur_cntL = (uint16_t)__HAL_TIM_GET_COUNTER(&htim3);

          // Delta
          // 16비트 unsigned 차이를 계산한 뒤 int16_t로 캐스팅하면 타이머가 65535에서 0으로 넘어가거나 반대로 돌아가는 오버플로우 자동 처리
          int16_t diff_count_R = (int16_t)(cur_cntR - last_cntR);
          int16_t diff_count_L = (int16_t)(cur_cntL - last_cntL);
          last_cntR = cur_cntR;// 다음 루프를 위해 현재 값 저장
          last_cntL = cur_cntL;

          //현재 RPM 계산
          motor_pid_R.current_rpm = (float)diff_count_R * RPM_CONVERSION_FACTOR_R;
          motor_pid_L.current_rpm = (float)diff_count_L * RPM_CONVERSION_FACTOR_L;

          // PID 계산
          PID_Compute_R(motor_pid_R.target_rpm, motor_pid_R.current_rpm);
          PID_Compute_L(motor_pid_L.target_rpm, motor_pid_L.current_rpm);
          Motor_Drive_TIM1_R(motor_pid_R.out_pwm);
          Motor_Drive_TIM1_L(motor_pid_L.out_pwm);

	  }

	  else{
		  // 정지 상태 혹은 에러 시 출력 차단
          Motor_Drive_TIM1_R(0);
          Motor_Drive_TIM1_L(0);

          // 정지 중에도 카운터는 계속 돌고 있으므로 last_cnt를 업데이트
          last_cntR = (uint16_t)__HAL_TIM_GET_COUNTER(&htim4);
          last_cntL = (uint16_t)__HAL_TIM_GET_COUNTER(&htim3);
	  }

	  // 서보 조향
      servo_ccr = radian_to_servo_ccr(target_cmd.target_steer); //target_servo_anlge에서 ccr 변환할때, 소수점(ccr)은 버려짐
      CHANGE_SERVO_PWM(servo_ccr);

      HAL_GPIO_WritePin(DEBUG_LED_3_GPIO_Port, DEBUG_LED_3_Pin, GPIO_PIN_RESET); // 주기 디버깅용
	  // 주기 유지
      tick += kPeriod;
      osDelayUntil(tick);
  }
  /* USER CODE END controlTask */
}

void lcdTask(void *argument)
{
  /* USER CODE BEGIN lcdTask */
  uint32_t tick = osKernelGetTickCount();
  const uint32_t kPeriod = 500U; // 500ms 주기 (50Hz)
  lcd_init(); // lcd 초기설정
  char line1[30]; // lcd에 보낼거(윗줄)
  char line2[30]; // lcd에 보낼거(아랫줄)
  /* Infinite loop */
  for(;;)
  {
	  HAL_GPIO_WritePin(DEBUG_LED_4_GPIO_Port, DEBUG_LED_4_Pin, GPIO_PIN_SET); // 주기 디버깅용
	  sprintf(line1, "D:%5.1f R:%5.0f", Straight_Distance, g_RobotData.pose.RPM);
	  sprintf(line2, "Path Idx: %5d", g_PPHandle.current_idx);

	  // 버퍼 비우기
	  lcd_buf_clear();

	  // 화면 데이터 버퍼에 그리기 (실제 전송 X)
	  lcd_put_cursor_buf(0, 0);
	  lcd_send_string_buf(line1);
	  lcd_put_cursor_buf(1, 0);
	  lcd_send_string_buf(line2);

	  // 쌓인 데이터를 DMA (여기서 CPU는 다른 일을 함)
	  lcd_flush_dma();

	  HAL_GPIO_WritePin(DEBUG_LED_4_GPIO_Port, DEBUG_LED_4_Pin, GPIO_PIN_RESET); // 주기 디버깅용

	  // 주기 유지
      tick += kPeriod;
      osDelayUntil(tick);
  }
  /* USER CODE END lcdTask */
}

void HAL_TIM_PeriodElapsedCallback(TIM_HandleTypeDef *htim)
{
  if (htim->Instance == TIM6)
  {
    HAL_IncTick();
  }
}

void Error_Handler(void)
{
  __disable_irq();
  while (1)
  {
  }
}
